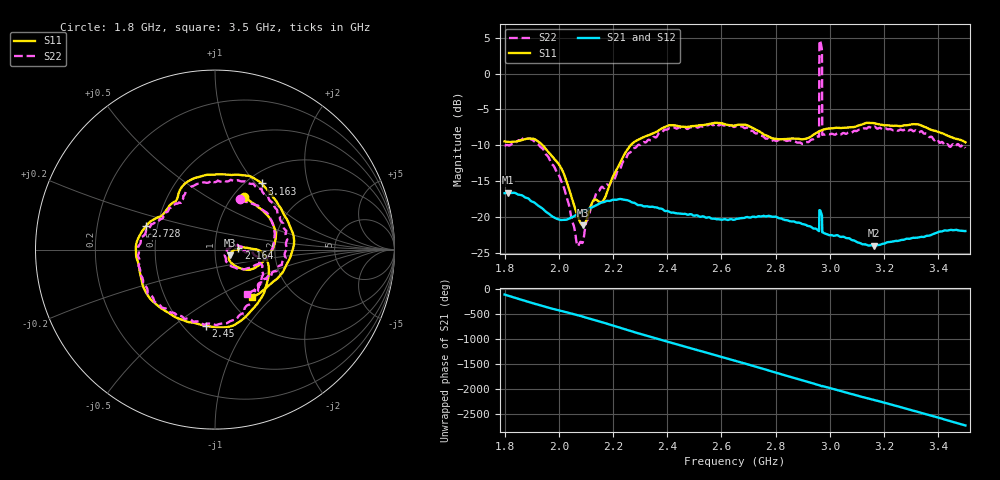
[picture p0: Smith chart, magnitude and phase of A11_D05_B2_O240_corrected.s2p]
! Created with skrf 1.9.0 (http://scikit-rf.org).
# Hz S RI R 50.0
!freq ReS11 ImS11 ReS21 ImS21 ReS12 ImS12 ReS22 ImS22
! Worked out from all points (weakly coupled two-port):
!   1601 points, 1.8 GHz to 3.5 GHz, reference 50 ohm
!   highest |S21| = -16.61 dB at 1.812 GHz (marker M1); lowest = -24.0 dB at 3.162 GHz (marker M2)
!   lowest |S11| = -21.2 dB at 2.09 GHz (marker M3), VSWR 1.19, Z = 58.7 - j3.74 ohm
!   |S11| at or under -10 dB: 1.941 GHz to 2.265 GHz (323.9 MHz wide, 15.4 % of centre)
!   |S22| runs from -24.1 to 4.6 dB; largest |S21 - S12| = 0.0027
!   S11 on the Smith chart (normalised r, x): 1.8 GHz: 1.13, +0.75; 2.164 GHz: 1.30, +0.02; 2.45 GHz: 0.64, -0.66; 2.728 GHz: 0.43, +0.14; 3.163 GHz: 1.17, +1.08; 3.5 GHz: 1.27, -0.74
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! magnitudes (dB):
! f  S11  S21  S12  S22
! 1.8 GHz  -9.5  -16.7  -16.7  -10.1
! 1.812 GHz  -9.5  -16.6  -16.6  -10.0
! 1.941 GHz  -10.0  -18.9  -18.9  -10.5
! 2.011 GHz  -13.4  -20.4  -20.4  -15.3
! 2.067 GHz  -19.6  -19.7  -19.7  -23.8
! 2.084 GHz  -21.1  -19.4  -19.3  -23.6
! 2.09 GHz  -21.2  -19.2  -19.2  -23.3
! 2.164 GHz  -17.7  -18.0  -17.9  -16.0
! 2.261 GHz  -10.2  -17.8  -17.8  -11.0
! 2.367 GHz  -8.0  -18.8  -18.7  -8.4
! 2.45 GHz  -7.4  -19.6  -19.6  -7.6
! 2.65 GHz  -7.2  -20.4  -20.4  -7.4
! 2.728 GHz  -7.8  -20.0  -20.1  -8.3
! 2.934 GHz  -8.7  -21.5  -21.5  -9.2
! 2.952 GHz  -8.2  -21.7  -21.7  -8.8
! 2.962 GHz  -8.0  -19.1  -19.1  4.6
! 2.97 GHz  -7.9  -19.7  -19.7  3.5
! 2.98 GHz  -7.8  -22.3  -22.3  -8.5
! 3.162 GHz  -6.9  -24.0  -24.0  -7.4
! 3.163 GHz  -6.9  -24.0  -24.0  -7.4
! 3.217 GHz  -7.2  -23.5  -23.5  -7.8
! 3.5 GHz  -9.6  -22.0  -22.0  -10.4
